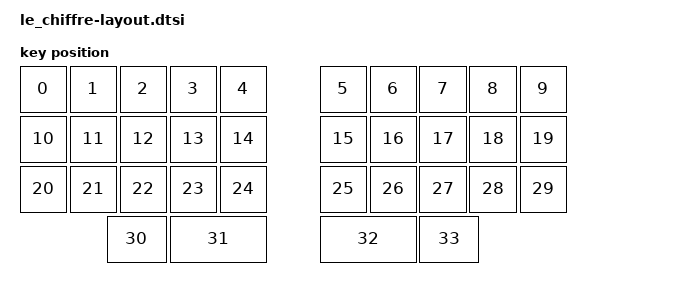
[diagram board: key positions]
#include <physical_layouts.dtsi>

/ {
    le_chiffre_no_knob_layout: le_chiffre_no_knob_layout {
        compatible = "zmk,physical-layout";
        display-name = "No Knob";

        transform = <&transform>;

        keys  //                     w   h    x    y     rot    rx    ry
            = <&key_physical_attrs 100 100    0    0       0     0     0>
            , <&key_physical_attrs 100 100  100    0       0     0     0>
            , <&key_physical_attrs 100 100  200    0       0     0     0>
            , <&key_physical_attrs 100 100  300    0       0     0     0>
            , <&key_physical_attrs 100 100  400    0       0     0     0>
            , <&key_physical_attrs 100 100  600    0       0     0     0>
            , <&key_physical_attrs 100 100  700    0       0     0     0>
            , <&key_physical_attrs 100 100  800    0       0     0     0>
            , <&key_physical_attrs 100 100  900    0       0     0     0>
            , <&key_physical_attrs 100 100 1000    0       0     0     0>
            , <&key_physical_attrs 100 100    0  100       0     0     0>
            , <&key_physical_attrs 100 100  100  100       0     0     0>
            , <&key_physical_attrs 100 100  200  100       0     0     0>
            , <&key_physical_attrs 100 100  300  100       0     0     0>
            , <&key_physical_attrs 100 100  400  100       0     0     0>
            , <&key_physical_attrs 100 100  600  100       0     0     0>
            , <&key_physical_attrs 100 100  700  100       0     0     0>
            , <&key_physical_attrs 100 100  800  100       0     0     0>
            , <&key_physical_attrs 100 100  900  100       0     0     0>
            , <&key_physical_attrs 100 100 1000  100       0     0     0>
            , <&key_physical_attrs 100 100    0  200       0     0     0>
            , <&key_physical_attrs 100 100  100  200       0     0     0>
            , <&key_physical_attrs 100 100  200  200       0     0     0>
            , <&key_physical_attrs 100 100  300  200       0     0     0>
            , <&key_physical_attrs 100 100  400  200       0     0     0>
            , <&key_physical_attrs 100 100  600  200       0     0     0>
            , <&key_physical_attrs 100 100  700  200       0     0     0>
            , <&key_physical_attrs 100 100  800  200       0     0     0>
            , <&key_physical_attrs 100 100  900  200       0     0     0>
            , <&key_physical_attrs 100 100 1000  200       0     0     0>
            , <&key_physical_attrs 125 100  175  300       0     0     0>
            , <&key_physical_attrs 200 100  300  300       0     0     0>
            , <&key_physical_attrs 200 100  600  300       0     0     0>
            , <&key_physical_attrs 125 100  800  300       0     0     0>
            ;
    };
};

